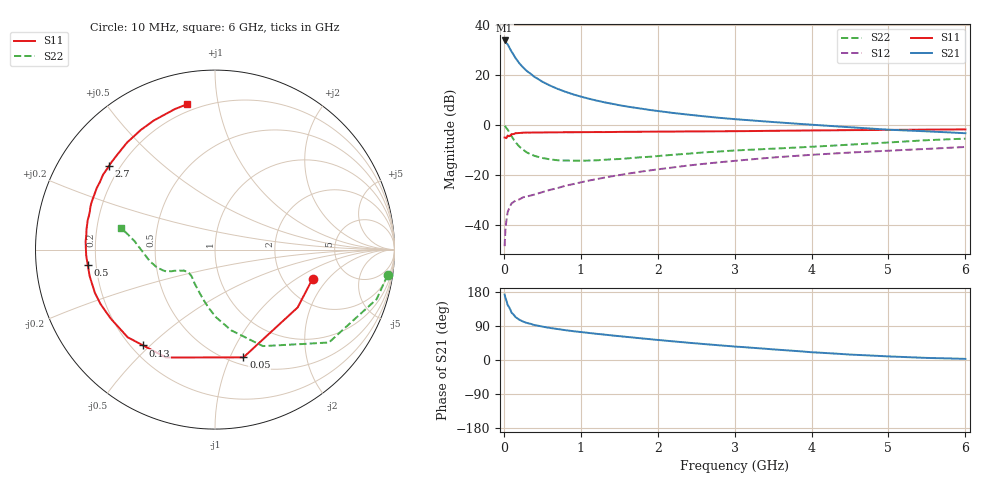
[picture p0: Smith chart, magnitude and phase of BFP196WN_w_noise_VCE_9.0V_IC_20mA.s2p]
! Infineon Technologies  Discrete & RF Semiconductors
! BFP196WN
! VCE =  9.0 V,  IC =  20 mA
! Common Emitter S-Parameters:  Jan 2017
# GHz  S  MA  R  50
!  f  S11  S21  S12  S22
! GHz  MAG  ANG  MAG  ANG  MAG  ANG  MAG  ANG
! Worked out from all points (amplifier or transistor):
!   77 points, 10 MHz to 6 GHz, reference 50 ohm
!   highest |S21| = 33.9 dB at 10 MHz (marker M1)
!   |S21| within 3 dB of that: start of sweep to 74.59 MHz
!   unconditionally stable (mu >= 1): 934.7 MHz to 2.65 GHz
!   at 130 MHz: K = 0.31, MSG = 29.3 dB, |S12| = -30.6 dB
!   at 2.2 GHz: K = 1.03, MAG = 9.8 dB, |S12| = -16.9 dB
!   at 6 GHz: K = 0.87, MSG = 2.8 dB, |S12| = -8.7 dB
!   lowest NFmin = 0.96 dB at 450 MHz
!   S11 on the Smith chart (normalised r, x): 10 MHz: 2.89, -1.39; 50 MHz: 0.58, -1.12; 130 MHz: 0.25, -0.48; 500 MHz: 0.17, -0.06; 2.7 GHz: 0.16, +0.34; 6 GHz: 0.16, +0.81
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0.01  0.5674 -16.7  49.45 172.8  0.0038 84.9  0.9719 -8.4
0.02  0.5621 -35.0  46.96 164.6  0.0077 80.5  0.9422 -17.0
0.05  0.621 -75.2  41.28 145.2  0.0183 60.2  0.8191 -39.2
0.1  0.6602 -114.4  29.62 124.9  0.0272 48.2  0.6001 -63.6
0.13  0.6675 -126.9  25.06 118.9  0.0294 44.2  0.5112 -71.6
0.15  0.6895 -134.9  22.23 113.6  0.0309 41.9  0.4592 -78.6
0.2  0.6966 -146.6  17.43 106.4  0.0327 40.2  0.3754 -89.4
0.25  0.7062 -154.5  14.28 101.4  0.0361 40.1  0.3229 -96.8
0.3  0.7112 -160.2  12.08 97.8  0.0374 41.1  0.284 -103.5
0.4  0.7138 -168.0  9.201 92.1  0.041 45.0  0.2428 -113.2
0.5  0.7144 -173.3  7.401 88.1  0.0457 47.7  0.2209 -120.8
0.6  0.7183 -177.4  6.197 84.6  0.0508 51.0  0.2069 -126.6
0.7  0.7196 179.3  5.311 81.7  0.0553 54.0  0.1985 -130.6
0.9  0.7217 173.4  4.136 76.1  0.0662 57.0  0.1954 -136.6
1.1  0.7258 169.1  3.397 71.5  0.0777 59.3  0.1959 -140.9
1.5  0.7335 161.2  2.508 62.9  0.1001 61.4  0.2102 -146.5
2.1  0.743 151.0  1.837 51.1  0.1367 61.2  0.2484 -151.7
2.7  0.7526 141.5  1.453 40.5  0.1747 59.2  0.2914 -155.5
3.1  0.7595 135.4  1.285 34.2  0.1994 56.8  0.3168 -159.2
4.1  0.7859 120.5  0.998 19.4  0.2607 50.0  0.3767 -172.1
5.1  0.8054 109.2  0.799 8.7  0.3136 42.7  0.4602 173.0
6  0.8242 101.0  0.69 3.0  0.3661 36.5  0.5382 167.1
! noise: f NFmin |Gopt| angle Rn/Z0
0.45  0.96  0.4  169  0.05
0.9  1.1  0.5  179  0.05
1.9  2.1  0.69  210  0.12
2.4  2.86  0.7  216  0.23
